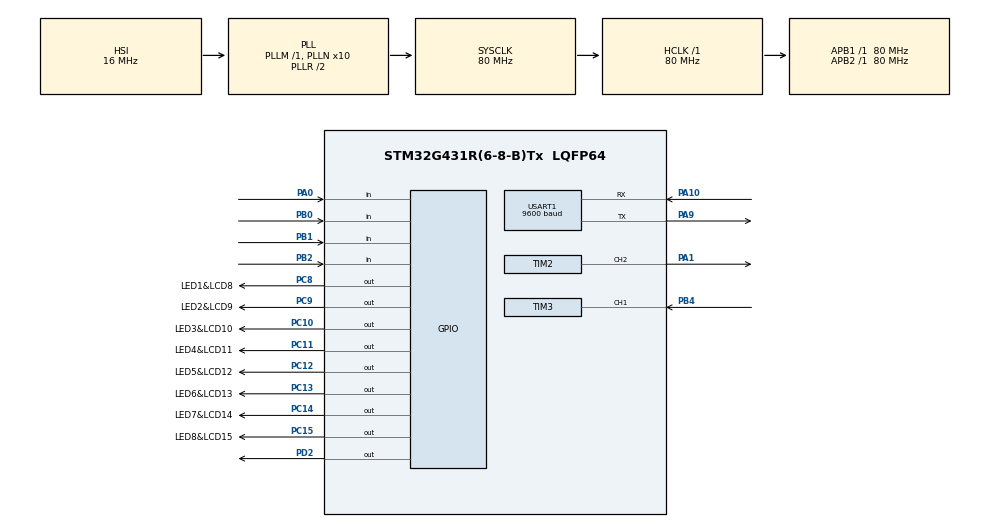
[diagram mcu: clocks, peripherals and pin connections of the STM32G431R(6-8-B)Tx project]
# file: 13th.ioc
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Mcu.Family=STM32G4
Mcu.Name=STM32G431R(6-8-B)Tx
Mcu.Package=LQFP64
NVIC.PriorityGroup=NVIC_PRIORITYGROUP_4
NVIC.TIM1_BRK_TIM15_IRQn=true\:0\:0\:false\:false\:true\:true\:true\:true
NVIC.TIM2_IRQn=true\:0\:0\:false\:false\:true\:true\:true\:true
NVIC.TIM3_IRQn=true\:0\:0\:false\:false\:true\:true\:true\:true
NVIC.USART1_IRQn=true\:0\:0\:false\:false\:true\:true\:true\:true
PA0.Signal=GPIO_Input
PA1.Signal=S_TIM2_CH2
PA10.Mode=Asynchronous
PA10.Signal=USART1_RX
PA13.Mode=Serial_Wire
PA13.Signal=SYS_JTMS-SWDIO
PA14.Mode=Serial_Wire
PA14.Signal=SYS_JTCK-SWCLK
PA9.Mode=Asynchronous
PA9.Signal=USART1_TX
PB0.Signal=GPIO_Input
PB1.Signal=GPIO_Input
PB2.Signal=GPIO_Input
PB4.Signal=S_TIM3_CH1
PC10.GPIO_Label=LED3&LCD10
PC10.Signal=GPIO_Output
PC11.GPIO_Label=LED4&LCD11
PC11.Signal=GPIO_Output
PC12.GPIO_Label=LED5&LCD12
PC12.Signal=GPIO_Output
PC13.GPIO_Label=LED6&LCD13
PC13.Signal=GPIO_Output
PC14-OSC32_IN.GPIO_Label=LED7&LCD14
PC14-OSC32_IN.Signal=GPIO_Output
PC15-OSC32_OUT.GPIO_Label=LED8&LCD15
PC15-OSC32_OUT.Signal=GPIO_Output
PC8.GPIO_Label=LED1&LCD8
PC8.Signal=GPIO_Output
PC9.GPIO_Label=LED2&LCD9
PC9.Signal=GPIO_Output
PD2.Signal=GPIO_Output
PF0-OSC_IN.Mode=HSE-External-Oscillator
PF0-OSC_IN.Signal=RCC_OSC_IN
PF1-OSC_OUT.Mode=HSE-External-Oscillator
PF1-OSC_OUT.Signal=RCC_OSC_OUT
ProjectManager.HeapSize=0x200
ProjectManager.StackSize=0x400
ProjectManager.TargetToolchain=MDK-ARM V5
RCC.ADC12Freq_Value=80000000
RCC.AHBFreq_Value=80000000
RCC.APB1Freq_Value=80000000
RCC.APB1TimFreq_Value=80000000
RCC.APB2Freq_Value=80000000
RCC.APB2TimFreq_Value=80000000
RCC.CortexFreq_Value=80000000
RCC.EXTERNAL_CLOCK_VALUE=12288000
RCC.HCLKFreq_Value=80000000
RCC.HSE_VALUE=24000000
RCC.HSI48_VALUE=48000000
RCC.HSI_VALUE=16000000
RCC.LSE_VALUE=32768
RCC.PLLN=10
RCC.SYSCLKFreq_VALUE=80000000
RCC.SYSCLKSource=RCC_SYSCLKSOURCE_PLLCLK
RCC.USBFreq_Value=80000000
RCC.VCOOutputFreq_Value=160000000
SH.S_TIM2_CH2.0=TIM2_CH2,PWM Generation2 CH2
SH.S_TIM3_CH1.0=TIM3_CH1,Input_Capture1_from_TI1
SH.S_TIM3_CH1.1=TIM3_CH1,TriggerSource_TI1FP1
TIM15.AutoReloadPreload=TIM_AUTORELOAD_PRELOAD_ENABLE
TIM15.PeriodNoDither=1000-1
TIM15.Prescaler=80-1
TIM2.AutoReloadPreload=TIM_AUTORELOAD_PRELOAD_ENABLE
TIM2.Channel-PWM\ Generation2\ CH2=TIM_CHANNEL_2
TIM2.PeriodNoDither=1000-1
TIM2.Prescaler=80-1
TIM2.PulseNoDither_2=500
TIM3.Channel-Input_Capture1_from_TI1=TIM_CHANNEL_1
TIM3.Channel-Input_Capture2_from_TI1_63=TIM_CHANNEL_2
TIM3.ICPolarity_CH2=TIM_INPUTCHANNELPOLARITY_FALLING
TIM3.Prescaler=80-1
USART1.BaudRate=9600
USART1.VirtualMode-Asynchronous=VM_ASYNC
VP_SYS_VS_DBSignals.Mode=DisableDeadBatterySignals
VP_TIM15_VS_ClockSourceINT.Mode=Internal
VP_TIM2_VS_ClockSourceINT.Mode=Internal
VP_TIM3_VS_ClockSourceINT.Mode=Internal
VP_TIM3_VS_ControllerModeReset.Mode=Reset Mode
VP_TIM3_VS_indirect_ch1.Mode=Input_Capture2_from_TI1_63
board=custom

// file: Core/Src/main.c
/* USER CODE BEGIN Header */
/**
  ******************************************************************************
  * @file           : main.c
  * @brief          : Main program body
  ******************************************************************************
  * @attention
  *
  * Copyright (c) 2024 STMicroelectronics.
  * All rights reserved.
  *
  * This software is licensed under terms that can be found in the LICENSE file
  * in the root directory of this software component.
  * If no LICENSE file comes with this software, it is provided AS-IS.
  *
  ******************************************************************************
  */
/* USER CODE END Header */
#include "main.h"
#include "tim.h"
#include "usart.h"
#include "gpio.h"

/* USER CODE BEGIN Includes */
#include "string.h"
#include "stdio.h"
#include "Bsp_Test.h"
#include "Bsp_LED.h"
#include "Bsp_Button.h"
#include "lcd.h"
#include "tim.h"
#include "Bsp_Usart.h"

/* USER CODE END Includes */

void SystemClock_Config(void);

int main(void)
{

  /* MCU Configuration--------------------------------------------------------*/

  /* Reset of all peripherals, Initializes the Flash interface and the Systick. */
  HAL_Init();

  /* Configure the system clock */
  SystemClock_Config();

  /* Initialize all configured peripherals */
  MX_GPIO_Init();
  MX_TIM15_Init();
  MX_USART1_UART_Init();
  MX_TIM2_Init();
  MX_TIM3_Init();
  /* USER CODE BEGIN 2 */
	LED_State=LED_State&0x00;
	LED_Control(LED_State);
  LCD_Init();
	LCD_Clear(White);
  LCD_TestTask();

	HAL_TIM_PWM_Start(&htim2,TIM_CHANNEL_2);   //定时器15的PWN_CH1输出

	HAL_TIM_IC_Start_IT(&htim3, TIM_CHANNEL_1);//上升沿
	HAL_TIM_IC_Start_IT(&htim3, TIM_CHANNEL_2);//下降沿
	HAL_TIM_Base_Start_IT(&htim3);//定时器4输入捕获
  /* USER CODE END 2 */

  /* Infinite loop */
  while (1)
  {

    /* USER CODE BEGIN 3 */
		KeyProcess();
		Uart1_RX_Pro();
		blink_Proc();

  }
  /* USER CODE END 3 */
}

void SystemClock_Config(void)
{
  RCC_OscInitTypeDef RCC_OscInitStruct = {0};
  RCC_ClkInitTypeDef RCC_ClkInitStruct = {0};

  /** Configure the main internal regulator output voltage
  */
  HAL_PWREx_ControlVoltageScaling(PWR_REGULATOR_VOLTAGE_SCALE1);

  /** Initializes the RCC Oscillators according to the specified parameters
  * in the RCC_OscInitTypeDef structure.
  */
  RCC_OscInitStruct.OscillatorType = RCC_OSCILLATORTYPE_HSI;
  RCC_OscInitStruct.HSIState = RCC_HSI_ON;
  RCC_OscInitStruct.HSICalibrationValue = RCC_HSICALIBRATION_DEFAULT;
  RCC_OscInitStruct.PLL.PLLState = RCC_PLL_ON;
  RCC_OscInitStruct.PLL.PLLSource = RCC_PLLSOURCE_HSI;
  RCC_OscInitStruct.PLL.PLLM = RCC_PLLM_DIV1;
  RCC_OscInitStruct.PLL.PLLN = 10;
  RCC_OscInitStruct.PLL.PLLP = RCC_PLLP_DIV2;
  RCC_OscInitStruct.PLL.PLLQ = RCC_PLLQ_DIV2;
  RCC_OscInitStruct.PLL.PLLR = RCC_PLLR_DIV2;
  if (HAL_RCC_OscConfig(&RCC_OscInitStruct) != HAL_OK)
  {
    Error_Handler();
  }

  /** Initializes the CPU, AHB and APB buses clocks
  */
  RCC_ClkInitStruct.ClockType = RCC_CLOCKTYPE_HCLK|RCC_CLOCKTYPE_SYSCLK
                              |RCC_CLOCKTYPE_PCLK1|RCC_CLOCKTYPE_PCLK2;
  RCC_ClkInitStruct.SYSCLKSource = RCC_SYSCLKSOURCE_PLLCLK;
  RCC_ClkInitStruct.AHBCLKDivider = RCC_SYSCLK_DIV1;
  RCC_ClkInitStruct.APB1CLKDivider = RCC_HCLK_DIV1;
  RCC_ClkInitStruct.APB2CLKDivider = RCC_HCLK_DIV1;

  if (HAL_RCC_ClockConfig(&RCC_ClkInitStruct, FLASH_LATENCY_2) != HAL_OK)
  {
    Error_Handler();
  }
}

void Error_Handler(void)
{
  __disable_irq();
  while (1)
  {
  }
}
